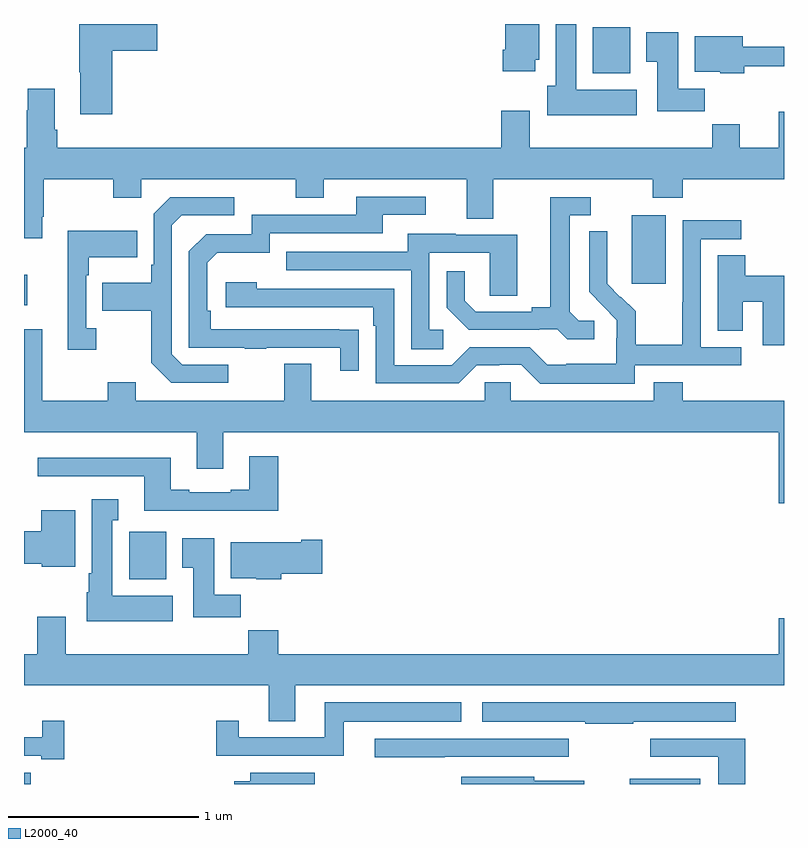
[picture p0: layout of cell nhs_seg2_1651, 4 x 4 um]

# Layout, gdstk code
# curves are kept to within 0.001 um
import gdstk
lib = gdstk.Library(unit=1e-6, precision=1e-09)
def R(c, l, rs):  # rectangles x0, y0, x1, y1
    for r in rs: c.add(gdstk.rectangle(r[:2], r[2:], *l))
def P(c, l, *ps):  # polygons
    for p in ps: c.add(gdstk.Polygon(p, *l))
L2000_40 = (2000, 40)

nhs_seg2_1651 = lib.new_cell('nhs_seg2_1651')
R(nhs_seg2_1651, L2000_40, [(197,629.8,197.035,629.86), (200.189,629.8,200.56,629.827), (197.553,630.878,197.749,631.128), (197,632.321,197.017,632.479), (200.198,632.433,200.377,632.794), (199.994,633.542,200.191,633.784)])
P(nhs_seg2_1651, L2000_40, [(200.224,633.454),(199.906,633.454),(199.906,633.8),(199.799,633.8),(199.799,633.474),(199.754,633.474),(199.754,633.32),(200.224,633.32)],
  [(199.69,633.612),(199.711,633.612),(199.711,633.8),(199.532,633.8),(199.532,633.664),(199.52,633.664),(199.52,633.552),(199.69,633.552)],
  [(197.465,633.659),(197.701,633.659),(197.701,633.8),(197.29,633.8),(197.29,633.547),(197.297,633.547),(197.297,633.324),(197.465,633.324)],
  [(200.582,633.46),(200.443,633.46),(200.443,633.757),(200.276,633.757),(200.276,633.601),(200.333,633.601),(200.333,633.342),(200.582,633.342)],
  [(200.79,633.577),(201,633.577),(201,633.68),(200.782,633.68),(200.782,633.736),(200.531,633.736),(200.531,633.548),(200.664,633.548),(200.664,633.542),(200.79,633.542)],
  [(197.021,633.347),(197.014,633.347),(197.014,633.148),(197,633.148),(197,632.673),(197.095,632.673),(197.095,632.785),(197.103,632.785),(197.103,632.984),(197.47,632.984),(197.47,632.885),(197.616,632.885),(197.616,632.984),(198.43,632.984),(198.43,632.885),(198.577,632.885),(198.577,632.984),(199.331,632.984),(199.331,632.776),(199.471,632.776),(199.471,632.984),(200.308,632.984),(200.308,632.885),(200.468,632.885),(200.468,632.984),(201,632.984),(201,633.337),(200.972,633.337),(200.972,633.148),(200.767,633.148),(200.767,633.272),(200.623,633.272),(200.623,633.148),(199.663,633.148),(199.663,633.343),(199.511,633.343),(199.511,633.148),(197.174,633.148),(197.174,633.244),(197.161,633.244),(197.161,633.46),(197.021,633.46)],
  [(198.761,632.192),(197.984,632.193),(197.984,632.29),(197.964,632.29),(197.964,632.544),(198.017,632.597),(198.294,632.597),(198.294,632.7),(198.889,632.7),(198.889,632.796),(199.114,632.796),(199.114,632.892),(198.749,632.892),(198.749,632.796),(198.198,632.796),(198.198,632.694),(197.958,632.694),(197.868,632.604),(197.868,632.097),(198.163,632.097),(198.163,632.092),(198.275,632.092),(198.275,632.097),(198.665,632.097),(198.665,631.974),(198.761,631.974)],
  [(200.002,632.238),(199.92,632.238),(199.873,632.285),(199.873,632.793),(199.984,632.793),(199.984,632.889),(199.769,632.889),(199.769,632.309),(199.673,632.309),(199.673,632.286),(199.378,632.286),(199.321,632.343),(199.321,632.5),(199.224,632.5),(199.224,632.306),(199.34,632.19),(199.712,632.19),(199.712,632.193),(199.806,632.193),(199.858,632.141),(200.002,632.141)],
  [(198.076,632.007),(197.832,632.007),(197.778,632.061),(197.778,632.742),(197.829,632.793),(198.106,632.793),(198.106,632.889),(197.769,632.889),(197.682,632.802),(197.682,632.533),(197.67,632.533),(197.67,632.437),(197.413,632.437),(197.413,632.29),(197.67,632.29),(197.67,632.017),(197.775,631.911),(198.076,631.911)],
  [(200.214,632.004),(200.776,632.004),(200.776,632.1),(200.562,632.1),(200.562,632.667),(200.776,632.667),(200.776,632.766),(200.466,632.766),(200.466,632.336),(200.464,632.336),(200.464,632.113),(200.219,632.113),(200.219,632.287),(200.142,632.364),(200.139,632.361),(200.069,632.432),(200.07,632.708),(199.974,632.708),(199.974,632.39),(200.12,632.242),(200.12,632.145),(200.118,632.145),(200.118,632.011),(199.855,632.011),(199.855,632.007),(199.755,632.007),(199.662,632.1),(199.347,632.1),(199.251,632.004),(198.948,632.004),(198.948,632.406),(198.224,632.406),(198.224,632.44),(198.063,632.44),(198.063,632.31),(198.839,632.31),(198.839,632.213),(198.852,632.213),(198.852,631.908),(199.287,631.908),(199.383,632.004),(199.502,632.004),(199.502,632.007),(199.617,632.007),(199.717,631.907),(200.214,631.907)],
  [(197.38,632.198),(197.328,632.198),(197.328,632.477),(197.341,632.477),(197.341,632.573),(197.597,632.573),(197.597,632.713),(197.231,632.713),(197.231,632.085),(197.38,632.085)],
  [(199.207,632.19),(199.134,632.19),(199.134,632.595),(199.452,632.595),(199.452,632.371),(199.597,632.371),(199.597,632.691),(199.273,632.691),(199.273,632.695),(199.019,632.695),(199.019,632.601),(198.379,632.601),(198.379,632.505),(199.038,632.505),(199.038,632.089),(199.207,632.089)],
  [(201,632.474),(200.795,632.474),(200.795,632.582),(200.651,632.582),(200.651,632.185),(200.782,632.185),(200.782,632.339),(200.888,632.339),(200.888,632.109),(201,632.109)],
  [(201,631.816),(200.468,631.816),(200.468,631.915),(200.315,631.915),(200.315,631.816),(199.563,631.816),(199.563,631.914),(199.425,631.914),(199.425,631.816),(198.511,631.816),(198.511,632.011),(198.371,632.011),(198.371,631.816),(197.587,631.816),(197.587,631.915),(197.44,631.915),(197.44,631.816),(197.095,631.816),(197.095,632.194),(197,632.194),(197,631.652),(197.909,631.652),(197.909,631.458),(198.049,631.458),(198.049,631.652),(200.972,631.652),(200.972,631.278),(201,631.278)],
  [(198.338,631.525),(198.185,631.525),(198.185,631.348),(198.089,631.348),(198.089,631.335),(197.869,631.335),(197.869,631.348),(197.773,631.348),(197.773,631.516),(197.073,631.516),(197.073,631.419),(197.633,631.419),(197.633,631.238),(198.338,631.238)],
  [(197.782,630.79),(197.464,630.79),(197.464,631.187),(197.497,631.187),(197.497,631.3),(197.357,631.3),(197.357,630.91),(197.342,630.91),(197.342,630.81),(197.33,630.81),(197.33,630.656),(197.782,630.656)],
  [(197.269,631.24),(197.09,631.24),(197.09,631.13),(197,631.13),(197,630.958),(197.094,630.958),(197.094,630.944),(197.269,630.944)],
  [(198.14,630.796),(198.001,630.796),(198.001,631.093),(197.834,631.093),(197.834,630.937),(197.891,630.937),(197.891,630.678),(198.14,630.678)],
  [(198.353,630.907),(198.571,630.907),(198.571,631.085),(198.458,631.085),(198.458,631.072),(198.089,631.072),(198.089,630.884),(198.222,630.884),(198.222,630.878),(198.353,630.878)],
  [(198.287,630.13),(198.427,630.13),(198.427,630.32),(201,630.32),(201,630.673),(200.972,630.673),(200.972,630.484),(198.338,630.484),(198.338,630.608),(198.181,630.608),(198.181,630.484),(197.221,630.484),(197.221,630.679),(197.069,630.679),(197.069,630.484),(197,630.484),(197,630.32),(198.287,630.32)],
  [(200.207,630.128),(200.746,630.128),(200.746,630.229),(199.413,630.229),(199.413,630.128),(199.954,630.128),(199.954,630.118),(200.207,630.118)],
  [(198.682,630.128),(199.3,630.128),(199.3,630.229),(198.584,630.229),(198.584,630.045),(198.13,630.045),(198.13,630.133),(198.013,630.133),(198.013,629.949),(198.682,629.949)],
  [(197.213,630.133),(197.096,630.133),(197.096,630.045),(197,630.045),(197,629.949),(197.09,629.949),(197.09,629.929),(197.213,629.929)],
  [(199.214,629.943),(199.867,629.943),(199.867,630.039),(198.846,630.039),(198.846,629.942),(199.214,629.942)],
  [(200.795,630.039),(200.295,630.039),(200.295,629.943),(200.655,629.943),(200.655,629.8),(200.795,629.8)],
  [(198.529,629.86),(198.191,629.86),(198.191,629.815),(198.107,629.815),(198.107,629.8),(198.529,629.8)],
  [(199.948,629.818),(199.686,629.818),(199.686,629.839),(199.302,629.839),(199.302,629.8),(199.948,629.8)])

lib.write_gds('nhs_seg2_1651.gds')
